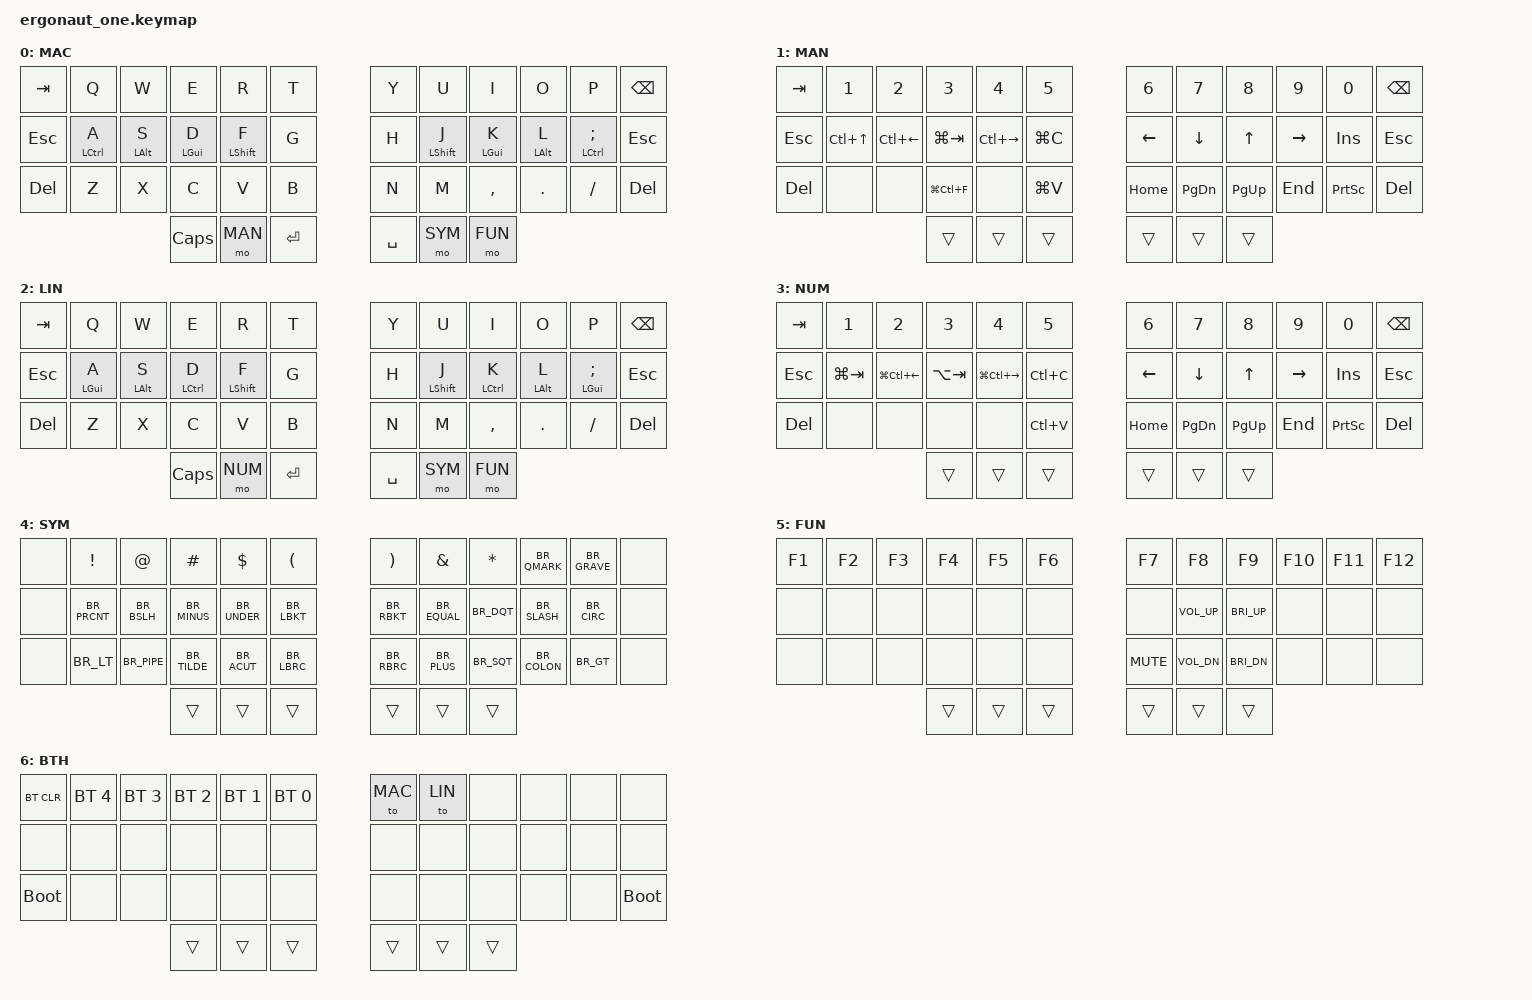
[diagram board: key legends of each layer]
#include <behaviors.dtsi>
#include <dt-bindings/zmk/bt.h>
#include <dt-bindings/zmk/keys.h>
#include "keys_br_abnt2.h"

#define MAC 0
#define MAN 1
#define LIN 2
#define NUM 3
#define SYM 4
#define FUN 5
#define BTH 6

/ {

    conditional_layers {
        compatible = "zmk,conditional-layers";
        tri_layer {
            if-layers = <NUM SYM>;
            then-layer = <BTH>;
        };
        mac_tri_layer {
            if-layers = <MAN SYM>;
            then-layer = <BTH>;
        };
    };

    macros {
        VIM_SEL: VIM_SEL {
            compatible = "zmk,behavior-macro";
            #binding-cells = <0>;
            bindings
                = <&macro_tap &kp ESC &kp V &kp A &kp P>
                ;
        };
        SFT_ENT: SFT_ENT {
            compatible = "zmk,behavior-macro";
            #binding-cells = <0>;
            bindings
                = <&macro_press &kp LSHFT>
                , <&macro_tap &kp RET>
                , <&macro_release &kp LSHFT>
                , <&macro_tap &kp ESC>
                ;
        };
    };

    behaviors {
        bhm: balanced_homerow_mods {
            compatible = "zmk,behavior-hold-tap";
            #binding-cells = <2>;
            tapping-term-ms = <150>;    // <---[[moderate duration]]
            quick-tap-ms = <0>;
            flavor = "balanced";
            bindings = <&kp>, <&kp>;
        };
    };

    keymap {
        compatible = "zmk,keymap";

        mac_layer {
            display-name = "MAC";
            bindings = <
&kp TAB     &kp Q           &kp W               &kp E           &kp R               &kp T               &kp Y           &kp U           &kp I           &kp O           &kp P           &kp BSPC
&kp ESC     &bhm LCTRL A    &bhm LALT S         &bhm LGUI D     &bhm LSHFT F        &kp G               &kp H           &bhm LSHFT J    &bhm LGUI K     &bhm LALT L     &bhm LCTRL SEMI &kp ESC
&kp DEL     &kp Z           &kp X               &kp C           &kp V               &kp B               &kp N           &kp M           &kp COMMA       &kp DOT         &kp FSLH        &kp DEL
                                                &kp CAPS        &mo MAN             &kp RET             &kp SPACE       &mo SYM         &mo FUN
            >;
        };

        mac_num_layer {
            display-name = "MAN";
            bindings = <
&kp TAB     &kp N1          &kp N2              &kp N3          &kp N4              &kp N5              &kp N6          &kp N7          &kp N8          &kp N9          &kp N0          &kp BSPC
&kp ESC     &kp LC(UP)      &kp LC(LEFT)        &kp LG(TAB)     &kp LC(RIGHT)       &kp LG(C)           &kp LEFT        &kp DOWN        &kp UP          &kp RIGHT       &kp INS         &kp ESC
&kp DEL     &none           &none               &kp LG(LC(F))   &none               &kp LG(V)           &kp HOME        &kp PG_DN       &kp PG_UP       &kp END         &kp PSCRN       &kp DEL
                                                &trans          &trans              &trans              &trans          &trans          &trans
            >;
        };

        linux_layer {
            display-name = "LIN";
            bindings = <
&kp TAB     &kp Q           &kp W               &kp E           &kp R               &kp T               &kp Y           &kp U           &kp I           &kp O           &kp P           &kp BSPC
&kp ESC     &bhm LGUI A     &bhm LALT S         &bhm LCTRL D    &bhm LSHFT F        &kp G               &kp H           &bhm LSHFT J    &bhm LCTRL K    &bhm LALT L     &bhm LGUI SEMI  &kp ESC
&kp DEL     &kp Z           &kp X               &kp C           &kp V               &kp B               &kp N           &kp M           &kp COMMA       &kp DOT         &kp FSLH        &kp DEL
                                                &kp CAPS        &mo NUM             &kp RET             &kp SPACE       &mo SYM         &mo FUN
            >;
        };

        num_layer {
            display-name = "NUM";
            bindings = <
&kp TAB     &kp N1          &kp N2              &kp N3          &kp N4              &kp N5              &kp N6          &kp N7          &kp N8          &kp N9          &kp N0          &kp BSPC
&kp ESC     &kp LG(TAB)     &kp LG(LC(LEFT))    &kp LA(TAB)     &kp LG(LC(RIGHT))   &kp LC(C)           &kp LEFT        &kp DOWN        &kp UP          &kp RIGHT       &kp INS         &kp ESC
&kp DEL     &none           &none               &none           &none               &kp LC(V)           &kp HOME        &kp PG_DN       &kp PG_UP       &kp END         &kp PSCRN       &kp DEL
                                                &trans          &trans              &trans              &trans          &trans          &trans
            >;
        };

        sym_layer {
            display-name = "SYM";
            bindings = <
&none       &kp EXCL        &kp AT              &kp HASH        &kp DLLR            &kp LPAR            &kp RPAR        &kp AMPS        &kp STAR        &kp BR_QMARK    &kp BR_GRAVE    &none
&none       &kp BR_PRCNT    &kp BR_BSLH         &kp BR_MINUS    &kp BR_UNDER        &kp BR_LBKT         &kp BR_RBKT     &kp BR_EQUAL    &kp BR_DQT      &kp BR_SLASH    &kp BR_CIRC     &none
&none       &kp BR_LT       &kp BR_PIPE         &kp BR_TILDE    &kp BR_ACUT         &kp BR_LBRC         &kp BR_RBRC     &kp BR_PLUS     &kp BR_SQT      &kp BR_COLON    &kp BR_GT       &none
                                                &trans          &trans              &trans              &trans          &trans          &trans
            >;
        };

        fun_layer {
            display-name = "FUN";
            bindings = <
&kp F1      &kp F2          &kp F3              &kp F4          &kp F5              &kp F6              &kp F7          &kp F8          &kp F9          &kp F10     &kp F11         &kp F12
&none       &none           &none               &none           &none               &none               &none           &kp C_VOL_UP    &kp C_BRI_UP    &none       &none           &none
&none       &none           &none               &none           &none               &none               &kp C_MUTE      &kp C_VOL_DN    &kp C_BRI_DN    &none       &none           &none
                                                &trans          &trans              &trans              &trans          &trans          &trans
            >;
        };

        bluetooth_layer {
            display-name = "BTH";
            bindings = <
&bt BT_CLR  &bt BT_SEL 4    &bt BT_SEL 3        &bt BT_SEL 2    &bt BT_SEL 1        &bt BT_SEL 0        &to MAC         &to LIN         &none           &none       &none           &none
&none       &none           &none               &none           &none               &none               &none           &none           &none           &none       &none           &none
&bootloader &none           &none               &none           &none               &none               &none           &none           &none           &none       &none           &bootloader
                                                &trans          &trans              &trans              &trans          &trans          &trans
            >;
        };

    };
};
